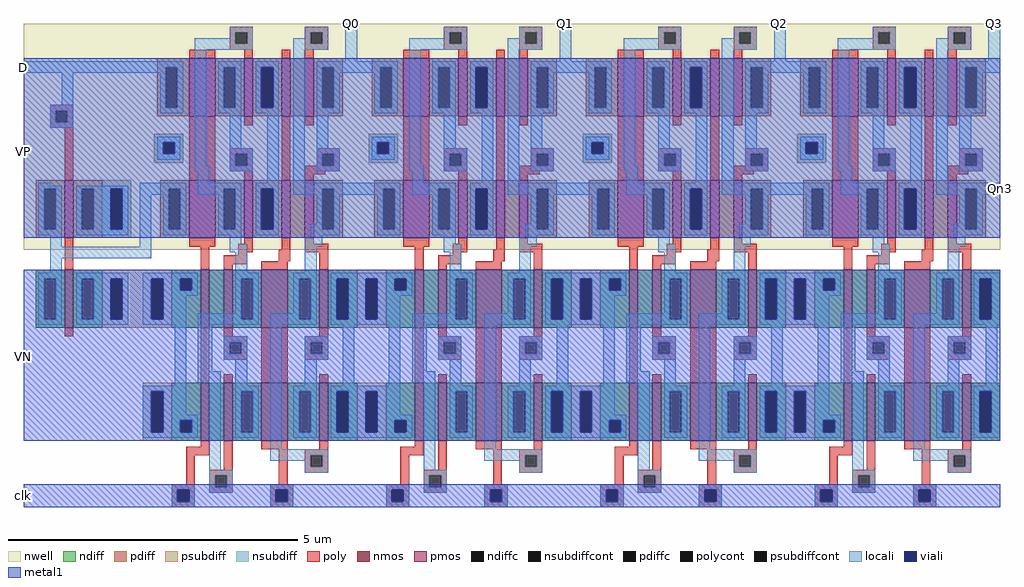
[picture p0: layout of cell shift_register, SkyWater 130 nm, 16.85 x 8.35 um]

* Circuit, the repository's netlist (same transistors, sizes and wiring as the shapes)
* SPICE3 file created from shift_register.ext - technology: sky130A

.subckt inverter A Y VP VN
X0 VN A Y VN sky130_fd_pr__nfet_01v8 ad=0.5 pd=3 as=0.5 ps=3 w=1 l=0.15
X1 VP A Y VP sky130_fd_pr__pfet_01v8 ad=0.5 pd=3 as=0.5 ps=3 w=1 l=0.15
.ends

.subckt d_ff clk D Dn Q Qn VP VN
X0 a_n180_n40# clk VN VN sky130_fd_pr__nfet_01v8 ad=0.125 pd=1.25 as=0.5 ps=3 w=1 l=0.15
X1 . clk Dn VP sky130_fd_pr__pfet_01v8 ad=0.25 pd=1.5 as=0.5 ps=3 w=1 l=0.45
X2 Qn clk . VN sky130_fd_pr__nfet_01v8 ad=0.275 pd=1.55 as=0.25 ps=1.5 w=1 l=0.45
X3 Q Qn a_100_1080# VP sky130_fd_pr__pfet_01v8 ad=0.5 pd=3 as=0.125 ps=1.25 w=1 l=0.15
X4 VP a_n160_1080# . VP sky130_fd_pr__pfet_01v8 ad=0.25 pd=1.5 as=0.25 ps=1.5 w=1 l=0.15
X5 . a_n160_1080# a_n180_350# VN sky130_fd_pr__nfet_01v8 ad=0.25 pd=1.5 as=0.125 ps=1.25 w=1 l=0.15
X6 VN Qn Q VN sky130_fd_pr__nfet_01v8 ad=0.5 pd=3 as=0.275 ps=1.55 w=1 l=0.15
X7 Qn Q a_100_660# VP sky130_fd_pr__pfet_01v8 ad=0.5 pd=3 as=0.125 ps=1.25 w=1 l=0.15
X8 a_n180_350# clk VN VN sky130_fd_pr__nfet_01v8 ad=0.125 pd=1.25 as=0.5 ps=3 w=1 l=0.15
X9 a_100_1080# clk VP VP sky130_fd_pr__pfet_01v8 ad=0.125 pd=1.25 as=0.25 ps=1.5 w=1 l=0.15
X10 a_100_660# clk VP VP sky130_fd_pr__pfet_01v8 ad=0.125 pd=1.25 as=0.25 ps=1.5 w=1 l=0.15
X11 Q clk a_n160_1080# VN sky130_fd_pr__nfet_01v8 ad=0.275 pd=1.55 as=0.25 ps=1.5 w=1 l=0.45
X12 a_n160_1080# . a_n180_n40# VN sky130_fd_pr__nfet_01v8 ad=0.25 pd=1.5 as=0.125 ps=1.25 w=1 l=0.15
X13 VN Q Qn VN sky130_fd_pr__nfet_01v8 ad=0.5 pd=3 as=0.275 ps=1.55 w=1 l=0.15
X14 a_n160_1080# clk D VP sky130_fd_pr__pfet_01v8 ad=0.25 pd=1.5 as=0.55 ps=3.1 w=1 l=0.45
X15 VP . a_n160_1080# VP sky130_fd_pr__pfet_01v8 ad=0.25 pd=1.5 as=0.25 ps=1.5 w=1 l=0.15
.ends

.subckt shift_register clk D Q0 Q1 Q2 Q3 VP VN Qn3
Xinverter_0 D d_ff_0/Dn VP VN inverter
Xd_ff_0 clk D d_ff_0/Dn Q0 d_ff_1/Dn VP VN d_ff
Xd_ff_1 clk Q0 d_ff_1/Dn Q1 d_ff_2/Dn VP VN d_ff
Xd_ff_2 clk Q1 d_ff_2/Dn Q2 d_ff_3/Dn VP VN d_ff
Xd_ff_3 clk Q2 d_ff_3/Dn Q3 Qn3 VP VN d_ff
.ends

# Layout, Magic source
magic
tech sky130A
<< locali >>
rect 545 810 565 830
rect 915 810 935 830
rect 1285 810 1305 830
rect 1655 810 1675 830
rect -10 745 10 765
rect 1655 535 1675 555
<< metal1 >>
rect -10 460 10 770
rect -10 110 10 405
rect -10 -5 195 35
use d_ff  d_ff_0
transform 1 0 400 0 1 130
box -205 -135 165 700
use d_ff  d_ff_1
transform 1 0 770 0 1 130
box -205 -135 165 700
use d_ff  d_ff_2
transform 1 0 1140 0 1 130
box -205 -135 165 700
use d_ff  d_ff_3
transform 1 0 1510 0 1 130
box -205 -135 165 700
use inverter  inverter_0
transform 1 0 110 0 1 310
box -120 -200 100 520
<< labels >>
rlabel metal1 -10 15 -10 15 7 clk
port 0 w
rlabel locali -10 755 -10 755 7 D
port 1 w
rlabel locali 555 830 555 830 1 Q0
port 2 n
rlabel locali 925 830 925 830 1 Q1
port 3 n
rlabel locali 1295 830 1295 830 1 Q2
port 4 n
rlabel locali 1665 830 1665 830 1 Q3
port 5 n
rlabel metal1 -10 610 -10 610 7 VP
port 6 w
rlabel metal1 -10 255 -10 255 7 VN
port 7 w
rlabel locali 1675 545 1675 545 3 Qn3
port 8 e
<< end >>

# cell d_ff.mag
magic
tech sky130A
<< nwell >>
rect -205 310 165 700
<< nmos >>
rect -105 175 -90 275
rect -65 175 -50 275
rect 0 175 45 275
rect 100 175 115 275
rect -105 -20 -90 80
rect -65 -20 -50 80
rect 0 -20 45 80
rect 100 -20 115 80
<< pmos >>
rect -125 540 -80 640
rect -30 540 -15 640
rect 35 540 50 640
rect 75 540 90 640
rect -125 330 -80 430
rect -30 330 -15 430
rect 35 330 50 430
rect 75 330 90 430
<< ndiff >>
rect -155 260 -105 275
rect -155 240 -140 260
rect -120 240 -105 260
rect -155 175 -105 240
rect -90 175 -65 275
rect -50 260 0 275
rect -50 190 -35 260
rect -15 190 0 260
rect -50 175 0 190
rect 45 260 100 275
rect 45 190 65 260
rect 85 190 100 260
rect 45 175 100 190
rect 115 260 165 275
rect 115 190 130 260
rect 150 190 165 260
rect 115 175 165 190
rect -155 15 -105 80
rect -155 -5 -140 15
rect -120 -5 -105 15
rect -155 -20 -105 -5
rect -90 -20 -65 80
rect -50 65 0 80
rect -50 -5 -35 65
rect -15 -5 0 65
rect -50 -20 0 -5
rect 45 65 100 80
rect 45 -5 65 65
rect 85 -5 100 65
rect 45 -20 100 -5
rect 115 65 165 80
rect 115 -5 130 65
rect 150 -5 165 65
rect 115 -20 165 -5
<< pdiff >>
rect -180 625 -125 640
rect -180 555 -165 625
rect -145 555 -125 625
rect -180 540 -125 555
rect -80 625 -30 640
rect -80 555 -65 625
rect -45 555 -30 625
rect -80 540 -30 555
rect -15 625 35 640
rect -15 555 0 625
rect 20 555 35 625
rect -15 540 35 555
rect 50 540 75 640
rect 90 625 140 640
rect 90 555 105 625
rect 125 555 140 625
rect 90 540 140 555
rect -175 415 -125 430
rect -175 345 -160 415
rect -140 345 -125 415
rect -175 330 -125 345
rect -80 415 -30 430
rect -80 345 -65 415
rect -45 345 -30 415
rect -80 330 -30 345
rect -15 415 35 430
rect -15 345 0 415
rect 20 345 35 415
rect -15 330 35 345
rect 50 330 75 430
rect 90 415 140 430
rect 90 345 105 415
rect 125 345 140 415
rect 90 330 140 345
<< ndiffc >>
rect -140 240 -120 260
rect -35 190 -15 260
rect 65 190 85 260
rect 130 190 150 260
rect -140 -5 -120 15
rect -35 -5 -15 65
rect 65 -5 85 65
rect 130 -5 150 65
<< pdiffc >>
rect -165 555 -145 625
rect -65 555 -45 625
rect 0 555 20 625
rect 105 555 125 625
rect -160 345 -140 415
rect -65 345 -45 415
rect 0 345 20 415
rect 105 345 125 415
<< psubdiff >>
rect -205 260 -155 275
rect -205 190 -190 260
rect -170 190 -155 260
rect -205 175 -155 190
rect -205 65 -155 80
rect -205 -5 -190 65
rect -170 -5 -155 65
rect -205 -20 -155 -5
<< nsubdiff >>
rect -185 495 -135 510
rect -185 475 -170 495
rect -150 475 -135 495
rect -185 460 -135 475
<< psubdiffcont >>
rect -190 190 -170 260
rect -190 -5 -170 65
<< nsubdiffcont >>
rect -170 475 -150 495
<< poly >>
rect -55 685 -15 695
rect -55 665 -45 685
rect -25 665 -15 685
rect -55 655 -15 665
rect 75 685 115 695
rect 75 665 85 685
rect 105 665 115 685
rect 75 655 115 665
rect -125 640 -80 655
rect -30 640 -15 655
rect 35 640 50 655
rect 75 640 90 655
rect -125 430 -80 540
rect -30 525 -15 540
rect -55 475 -15 485
rect -55 455 -45 475
rect -25 455 -15 475
rect -55 445 -15 455
rect -30 430 -15 445
rect 35 430 50 540
rect 75 525 90 540
rect 95 475 135 485
rect 95 455 105 475
rect 125 455 135 475
rect 75 445 135 455
rect 75 440 110 445
rect 75 430 90 440
rect -125 315 -80 330
rect -30 320 -15 330
rect -105 275 -90 315
rect -40 305 -15 320
rect 35 310 50 330
rect -40 300 -25 305
rect -65 285 -25 300
rect 30 290 50 310
rect 75 320 90 330
rect 75 305 115 320
rect -65 275 -50 285
rect 0 275 45 290
rect 100 275 115 305
rect -105 80 -90 175
rect -65 160 -50 175
rect -65 150 -25 160
rect -65 130 -55 150
rect -35 130 -25 150
rect -65 120 -25 130
rect -65 80 -50 95
rect 0 80 45 175
rect 100 160 115 175
rect 75 150 115 160
rect 75 130 85 150
rect 105 130 115 150
rect 75 120 115 130
rect 100 80 115 95
rect -105 -30 -90 -20
rect -130 -45 -90 -30
rect -130 -95 -115 -45
rect -65 -70 -50 -20
rect 0 -35 45 -20
rect 100 -35 115 -20
rect -155 -105 -115 -95
rect -155 -125 -145 -105
rect -125 -125 -115 -105
rect -90 -80 -50 -70
rect -90 -100 -80 -80
rect -60 -100 -50 -80
rect 30 -95 45 -35
rect 75 -45 115 -35
rect 75 -65 85 -45
rect 105 -65 115 -45
rect 75 -75 115 -65
rect -90 -110 -50 -100
rect 15 -105 55 -95
rect -155 -135 -115 -125
rect 15 -125 25 -105
rect 45 -125 55 -105
rect 15 -135 55 -125
<< polycont >>
rect -45 665 -25 685
rect 85 665 105 685
rect -45 455 -25 475
rect 105 455 125 475
rect -55 130 -35 150
rect 85 130 105 150
rect -145 -125 -125 -105
rect -80 -100 -60 -80
rect 85 -65 105 -45
rect 25 -125 45 -105
<< locali >>
rect -55 685 -15 695
rect -55 675 -45 685
rect -115 665 -45 675
rect -25 665 -15 685
rect 75 685 115 695
rect 75 675 85 685
rect -115 655 -15 665
rect 55 665 85 675
rect 105 665 115 685
rect 55 655 115 665
rect -205 625 -135 635
rect -205 615 -165 625
rect -175 555 -165 615
rect -145 555 -135 625
rect -175 545 -135 555
rect -180 495 -140 505
rect -180 475 -170 495
rect -150 475 -140 495
rect -180 465 -140 475
rect -115 455 -95 655
rect -75 625 -35 635
rect -75 555 -65 625
rect -45 555 -35 625
rect -75 545 -35 555
rect -10 625 30 635
rect -10 555 0 625
rect 20 555 30 625
rect -10 545 30 555
rect -55 485 -35 545
rect -55 475 -15 485
rect -55 455 -45 475
rect -25 455 -15 475
rect -115 445 -90 455
rect -55 445 -15 455
rect -110 425 -90 445
rect 10 425 30 545
rect -205 415 -130 425
rect -205 405 -160 415
rect -170 345 -160 405
rect -140 345 -130 415
rect -110 415 -35 425
rect -110 405 -65 415
rect -170 335 -130 345
rect -75 345 -65 405
rect -45 345 -35 415
rect -75 335 -35 345
rect -10 415 30 425
rect -10 345 0 415
rect 20 345 30 415
rect 55 425 75 655
rect 145 635 165 700
rect 95 625 165 635
rect 95 555 105 625
rect 125 615 165 625
rect 125 555 135 615
rect 95 545 135 555
rect 95 485 115 545
rect 95 475 135 485
rect 95 455 105 475
rect 125 455 135 475
rect 95 445 135 455
rect 55 415 165 425
rect 55 405 105 415
rect 95 355 105 405
rect -10 335 30 345
rect 85 345 105 355
rect 125 405 165 415
rect 125 345 135 405
rect 85 335 135 345
rect -55 320 -35 335
rect 85 330 105 335
rect -55 305 -25 320
rect -45 270 -25 305
rect 75 315 105 330
rect 75 270 95 315
rect -205 260 -110 270
rect -205 190 -190 260
rect -170 240 -140 260
rect -120 240 -110 260
rect -170 230 -110 240
rect -45 260 -5 270
rect -170 190 -130 230
rect -45 200 -35 260
rect -205 180 -130 190
rect -150 75 -130 180
rect -110 190 -35 200
rect -15 190 -5 260
rect 55 260 95 270
rect 55 200 65 260
rect -110 180 -5 190
rect 15 190 65 200
rect 85 190 95 260
rect 15 180 95 190
rect 120 260 165 270
rect 120 190 130 260
rect 150 190 165 260
rect 120 180 165 190
rect -110 100 -85 180
rect -65 150 -25 160
rect -65 130 -55 150
rect -35 130 -25 150
rect -65 120 -25 130
rect -110 80 -70 100
rect -205 65 -130 75
rect -205 -5 -190 65
rect -170 25 -130 65
rect -170 15 -110 25
rect -170 -5 -140 15
rect -120 -5 -110 15
rect -205 -15 -110 -5
rect -90 -70 -70 80
rect -45 75 -25 120
rect -45 65 -5 75
rect -45 -5 -35 65
rect -15 -5 -5 65
rect -45 -15 -5 -5
rect 15 -35 35 180
rect 75 150 115 160
rect 75 130 85 150
rect 105 130 115 150
rect 75 120 115 130
rect 75 75 95 120
rect 140 75 160 180
rect 55 65 95 75
rect 55 -5 65 65
rect 85 -5 95 65
rect 55 -15 95 -5
rect 120 65 165 75
rect 120 -5 130 65
rect 150 -5 165 65
rect 120 -15 165 -5
rect 15 -45 115 -35
rect 15 -55 85 -45
rect 75 -65 85 -55
rect 105 -65 115 -45
rect -90 -80 -50 -70
rect 75 -75 115 -65
rect -155 -105 -115 -95
rect -155 -125 -145 -105
rect -125 -125 -115 -105
rect -90 -100 -80 -80
rect -60 -100 -50 -80
rect -90 -110 -50 -100
rect 15 -105 55 -95
rect -155 -135 -115 -125
rect 15 -125 25 -105
rect 45 -125 55 -105
rect 15 -135 55 -125
<< viali >>
rect -170 475 -150 495
rect 0 555 20 625
rect 0 345 20 415
rect -190 190 -170 260
rect -140 240 -120 260
rect 130 190 150 260
rect -190 -5 -170 65
rect -140 -5 -120 15
rect 130 -5 150 65
rect -145 -125 -125 -105
rect 25 -125 45 -105
<< metal1 >>
rect -205 625 165 640
rect -205 555 0 625
rect 20 555 165 625
rect -205 495 165 555
rect -205 475 -170 495
rect -150 475 165 495
rect -205 415 165 475
rect -205 345 0 415
rect 20 345 165 415
rect -205 330 165 345
rect -205 260 165 275
rect -205 190 -190 260
rect -170 240 -140 260
rect -120 240 130 260
rect -170 190 130 240
rect 150 190 165 260
rect -205 65 165 190
rect -205 -5 -190 65
rect -170 15 130 65
rect -170 -5 -140 15
rect -120 -5 130 15
rect 150 -5 165 65
rect -205 -20 165 -5
rect -205 -105 165 -95
rect -205 -125 -145 -105
rect -125 -125 25 -105
rect 45 -125 165 -105
rect -205 -135 165 -125
<< labels >>
rlabel metal1 -205 -115 -205 -115 7 clk
port 0 w
rlabel locali 165 625 165 625 3 Q
port 3 e
rlabel locali 165 415 165 415 3 Qn
port 4 e
rlabel metal1 -205 485 -205 485 7 VP
port 5 w
rlabel metal1 -205 125 -205 125 7 VN
port 6 w
rlabel locali -205 625 -205 625 7 D
port 1 w
rlabel locali -205 415 -205 415 7 Dn
port 2 w
<< end >>

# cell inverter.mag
magic
tech sky130A
<< nwell >>
rect -120 130 85 520
<< nmos >>
rect -50 -5 -35 95
<< pmos >>
rect -50 150 -35 250
<< ndiff >>
rect -100 80 -50 95
rect -100 10 -85 80
rect -65 10 -50 80
rect -100 -5 -50 10
rect -35 80 15 95
rect -35 10 -20 80
rect 0 10 15 80
rect -35 -5 15 10
<< pdiff >>
rect -100 235 -50 250
rect -100 165 -85 235
rect -65 165 -50 235
rect -100 150 -50 165
rect -35 235 15 250
rect -35 165 -20 235
rect 0 165 15 235
rect -35 150 15 165
<< ndiffc >>
rect -85 10 -65 80
rect -20 10 0 80
<< pdiffc >>
rect -85 165 -65 235
rect -20 165 0 235
<< psubdiff >>
rect 15 80 85 95
rect 15 10 30 80
rect 50 10 85 80
rect 15 -5 85 10
<< nsubdiff >>
rect 15 235 65 250
rect 15 165 30 235
rect 50 165 65 235
rect 15 150 65 165
<< psubdiffcont >>
rect 30 10 50 80
<< nsubdiffcont >>
rect 30 165 50 235
<< poly >>
rect -75 370 -35 380
rect -75 350 -65 370
rect -45 350 -35 370
rect -75 340 -35 350
rect -50 250 -35 340
rect -50 95 -35 150
rect -50 -20 -35 -5
<< polycont >>
rect -65 350 -45 370
<< locali >>
rect -120 435 85 455
rect -55 380 -35 435
rect -75 370 -35 380
rect -75 350 -65 370
rect -45 350 -35 370
rect -75 340 -35 350
rect -95 240 -75 245
rect -95 235 -55 240
rect -95 165 -85 235
rect -65 165 -55 235
rect -95 155 -55 165
rect -30 235 60 240
rect -30 165 -20 235
rect 0 165 30 235
rect 50 165 60 235
rect -30 155 60 165
rect -75 135 -55 155
rect 80 135 100 245
rect -75 115 100 135
rect -75 90 -55 115
rect -95 80 -55 90
rect -95 10 -85 80
rect -65 10 -55 80
rect -95 0 -55 10
rect -30 80 60 90
rect -30 10 -20 80
rect 0 10 30 80
rect 50 10 60 80
rect -30 0 60 10
<< viali >>
rect 30 165 50 235
rect 30 10 50 80
<< metal1 >>
rect -120 235 85 460
rect -120 165 30 235
rect 50 165 85 235
rect -120 150 85 165
rect -120 80 85 95
rect -120 10 30 80
rect 50 10 85 80
rect -120 -200 85 10
<< labels >>
rlabel locali -120 445 -120 445 7 A
port 0 w
rlabel locali 85 235 85 235 3 Y
port 1 e
rlabel metal1 -120 320 -120 320 7 VP
port 2 w
rlabel metal1 -120 -50 -120 -50 7 VN
port 3 w
<< end >>
